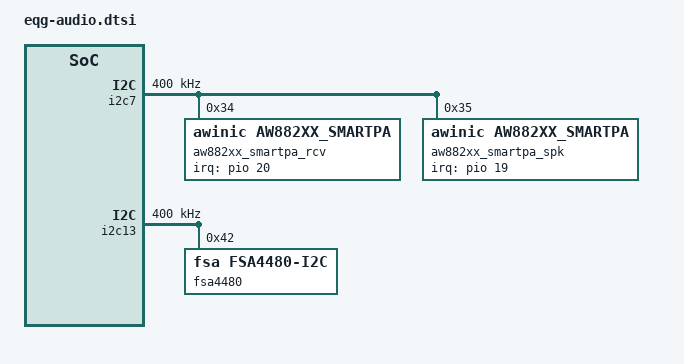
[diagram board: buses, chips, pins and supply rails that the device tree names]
/* Copyright (c) 2024, Motorola Mobility Inc. All rights reserved.
 *
 * This program is free software; you can redistribute it and/or modify
 * it under the terms of the GNU General Public License version 2 and
 * only version 2 as published by the Free Software Foundation.
 *
 * This program is distributed in the hope that it will be useful,
 * but WITHOUT ANY WARRANTY; without even the implied warranty of
 * MERCHANTABILITY or FITNESS FOR A PARTICULAR PURPOSE.  See the
 * GNU General Public License for more details.
 */

&spk {
	status = "disable";
};

&i2c7 {
        status = "okay";
        clock-frequency = <400000>;

        aw882xx_smartpa_rcv: aw882xx@34 {
                compatible = "awinic,aw882xx_smartpa";
                #sound-dai-cells = <0>;
                reg = <0x34>;
                irq-gpio = <&pio 20 0x0>;
                /*sync-load = <1>;*/
                sound-channel = <0>; /*0:pri_l 1:pri_r 2:sec_l 3:sec_r*/
                aw-re-min = <4000>;
                aw-re-max= <30000>;
                /*aw-cali-mode = "none";*/
                status = "okay";
        };
        aw882xx_smartpa_spk: aw882xx@35 {
                compatible = "awinic,aw882xx_smartpa";
                #sound-dai-cells = <0>;
                reg = <0x35>;
                irq-gpio = <&pio 19 0x0>;
                /*sync-load = <1>;*/
                sound-channel = <1>; /*0:pri_l 1:pri_r 2:sec_l 3:sec_r*/
                aw-re-min = <4000>;
                aw-re-max= <30000>;
                /*aw-cali-mode = "none";*/
                status = "okay";
        };
};

&sound {
        mediatek,spk-i2s = <21 20>;
        mediatek,speaker-codec {
                sound-dai = <&aw882xx_smartpa_rcv &aw882xx_smartpa_spk>;
        };
};

&afe {
        mediatek,ap-dmic = <0>;
};

&i2c13 {
        status = "okay";
        clock-frequency = <400000>;

        fsa4480: fsa4480@42 {
                compatible = "fsa,fsa4480-i2c";
                reg = <0x42>;
                status = "okay";
        };
};
